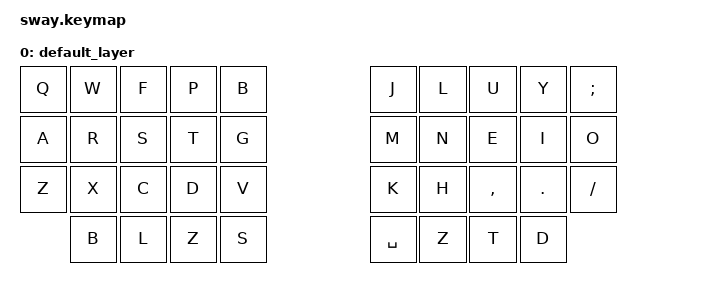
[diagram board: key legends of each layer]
/*
 * Copyright (c) 2022 The ZMK Contributors
 *
 * SPDX-License-Identifier: MIT
 */

#include <behaviors.dtsi>
#include <dt-bindings/zmk/keys.h>
#include <dt-bindings/zmk/bt.h>


&mt {
  //  flavor = "tap-preferred";
   // tapping-term-ms = <200>;
};

/ {
    glidepoint_listener {
        compatible = "zmk,input-listener";
        device = <&glidepoint>;
        input-processors = <&zip_xy_transform (INPUT_TRANSFORM_XY_SWAP | INPUT_TRANSFORM_X_INVERT | INPUT_TRANSFORM_Y_INVERT)>;
    };
    

    behaviors {};

    combos {
        compatible = "zmk,combos";
        combo_esc {
            timeout-ms = <40>;
            key-positions = <0 1>;
            bindings = <&kp ESC>;
        };

         combo_tab {
            timeout-ms = <50>;
            key-positions = <10 11>;
            bindings = <&kp TAB>;
        };

            combo_ralt {
            timeout-ms = <50>;
            key-positions = <17 16>;
            bindings = <&kp RALT>;
        };

                    combo_lalt {
            timeout-ms = <50>;
            key-positions = <11 12>;
            bindings = <&kp LALT>;
        };

                           combo_lgui {
            timeout-ms = <50>;
            key-positions = <12 13>;
            bindings = <&kp LGUI>;
        };


       combo_rgui {
            timeout-ms = <50>;
            key-positions = <17 18>;
            bindings = <&kp RGUI>;
        };



    };

    keymap {
        compatible = "zmk,keymap";

        default_layer {
        bindings = <
&kp Q       &kp W   &kp F   &kp P &kp B                      &kp J      &kp L  &kp U     &kp Y      &kp SEMI
&kp A       &kp R   &kp S   &kp T &kp G                      &kp M      &kp N  &kp E     &kp I      &kp O
&kp Z       &kp X   &kp C   &kp D &kp V                      &kp K      &kp H  &kp COMMA &kp DOT    &kp SLASH
        &kp B   &kp L   &kp Z &kp S                      &kp SPACE  &kp Z  &kp T     &kp D
        >;
    >;
    };

    };
};
